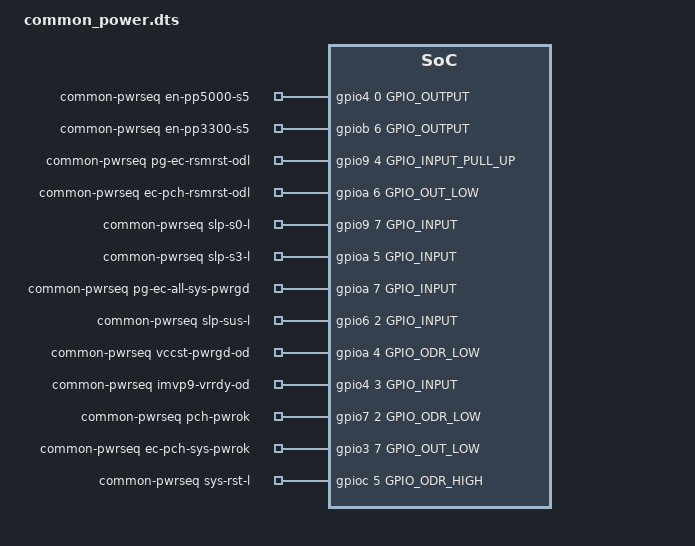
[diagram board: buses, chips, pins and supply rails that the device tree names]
/* Copyright 2022 The Chromium OS Authors. All rights reserved.
 * Use of this source code is governed by a BSD-style license that can be
 * found in the LICENSE file.
 */

/ {
	common-pwrseq {
		compatible = "intel,ap-pwrseq";

		dsw-pwrok-delay = <10>;
		pm-pwrbtn-delay = <200>;
		rsmrst-delay = <10>;
		sys-pwrok-delay = <10>;
		pch-pwrok-delay = <2>;
		vccst-pwrgd-delay = <2>;
		sys-reset-delay = <32>;
		all-sys-pwrgd-timeout = <20>;

		en-pp5000-s5-gpios = <&gpio4 0 GPIO_OUTPUT>;
		en-pp3300-s5-gpios = <&gpiob 6 GPIO_OUTPUT>;
		pg-ec-rsmrst-odl-gpios = <&gpio9 4 GPIO_INPUT_PULL_UP>;
		ec-pch-rsmrst-odl-gpios = <&gpioa 6 GPIO_OUT_LOW>;
		slp-s0-l-gpios = <&gpio9 7 GPIO_INPUT>;
		slp-s3-l-gpios = <&gpioa 5 GPIO_INPUT>;
		pg-ec-all-sys-pwrgd-gpios = <&gpioa 7 GPIO_INPUT>;
		slp-sus-l-gpios = <&gpio6 2 GPIO_INPUT>;

		vccst-pwrgd-od-gpios = <&gpioa 4 GPIO_ODR_LOW>;
		imvp9-vrrdy-od-gpios = <&gpio4 3 GPIO_INPUT>;
		pch-pwrok-gpios = <&gpio7 2 GPIO_ODR_LOW>;
		ec-pch-sys-pwrok-gpios = <&gpio3 7 GPIO_OUT_LOW>;
		sys-rst-l-gpios = <&gpioc 5 GPIO_ODR_HIGH>;
	};

	pwrseq_signals_interrupts: pwrseq-signals-interrupts {
		compatible = "cros-ec,gpio-interrupts";
		int_slp_s0: slp_s0 {
			irq-pin = <&slp-s0-l-gpios>;
			flags = <GPIO_INT_EDGE_BOTH>;
			handler = "power_signal_interrupt";
		};
		int_slp_s3: slp_s3 {
			irq-pin = <&slp-s3-l-gpios>;
			flags = <GPIO_INT_EDGE_BOTH>;
			handler = "power_signal_interrupt";
		};
		int_slp_sus: slp_sus {
			irq-pin = <&slp-sus-l-gpios>;
			flags = <GPIO_INT_EDGE_BOTH>;
			handler = "power_signal_interrupt";
		};
		int_pg_rsmrst_odl: pg_rsmrst_odl {
			irq-pin = <&pg-ec-rsmrst-odl-gpios>;
			flags = <GPIO_INT_EDGE_BOTH>;
			handler = "power_signal_interrupt";
		};
		int_pg_all_sys_pwrgd: pg_all_sys_pwrgd {
			irq-pin = <&pg-ec-all-sys-pwrgd-gpios>;
			flags = <GPIO_INT_EDGE_BOTH>;
			handler = "power_signal_interrupt";
		};
	};

};
